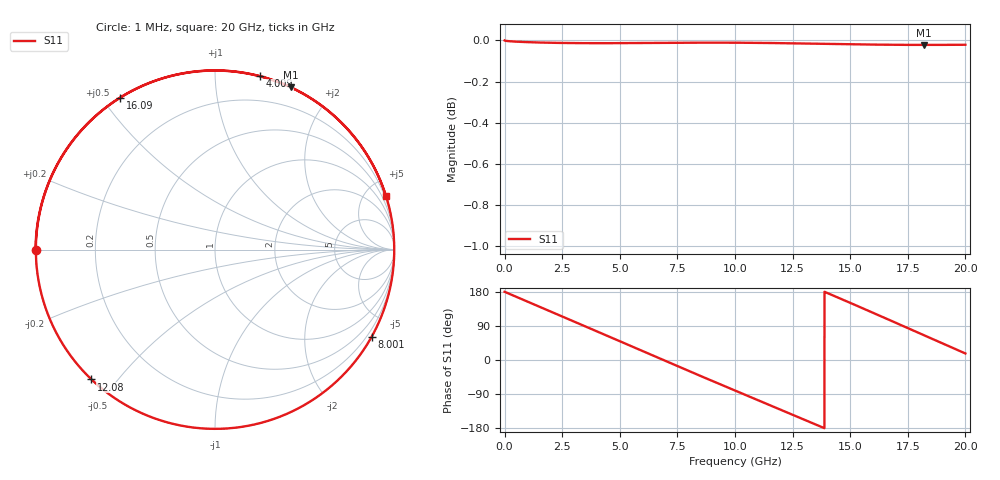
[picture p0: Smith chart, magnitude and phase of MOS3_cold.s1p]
# GHz S RI R 50
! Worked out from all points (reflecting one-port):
!   10001 points, 1 MHz to 20 GHz, reference 50 ohm
!   lowest |S11| = 0.0 dB at 18.22 GHz (marker M1), VSWR 792.94, Z = 0.219 + j78.6 ohm
!   phase of S11 starts at 180 deg and turns -523 deg over the sweep
!   S11 on the Smith chart (normalised r, x): 1 MHz: 0.00, +0.00; 4.009 GHz: 0.00, +1.29; 8.001 GHz: 0.01, -3.86; 12.08 GHz: 0.00, -0.43; 16.09 GHz: 0.00, +0.56; 20 GHz: 0.05, +6.60
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0.001  -1 0.000484
0.585  -0.9642 0.2622
1.181  -0.859 0.5099
1.871  -0.6599 0.7497
2.501  -0.4209 0.9055
3.259  -0.0889 0.9945
4.009  0.2508 0.9664
5.001  0.6499 0.758
5.661  0.8463 0.5299
6.283  0.9612 0.2708
6.891  0.9986 -0.0031
7.501  0.9596 -0.2767
8.001  0.8729 -0.4853
9.049  0.5565 -0.8293
10.001  0.164 -0.9852
11.015  -0.2824 -0.9579
12.079  -0.6881 -0.7235
12.501  -0.8113 -0.5818
13.147  -0.9435 -0.326
13.767  -0.9967 -0.0532
14.379  -0.9729 0.2221
15.001  -0.8714 0.4862
16.095  -0.5265 0.8474
16.809  -0.2203 0.9729
17.501  0.1015 0.9923
18.217  0.4233 0.9032
19.169  0.7713 0.6325
20.001  0.9528 0.2956
